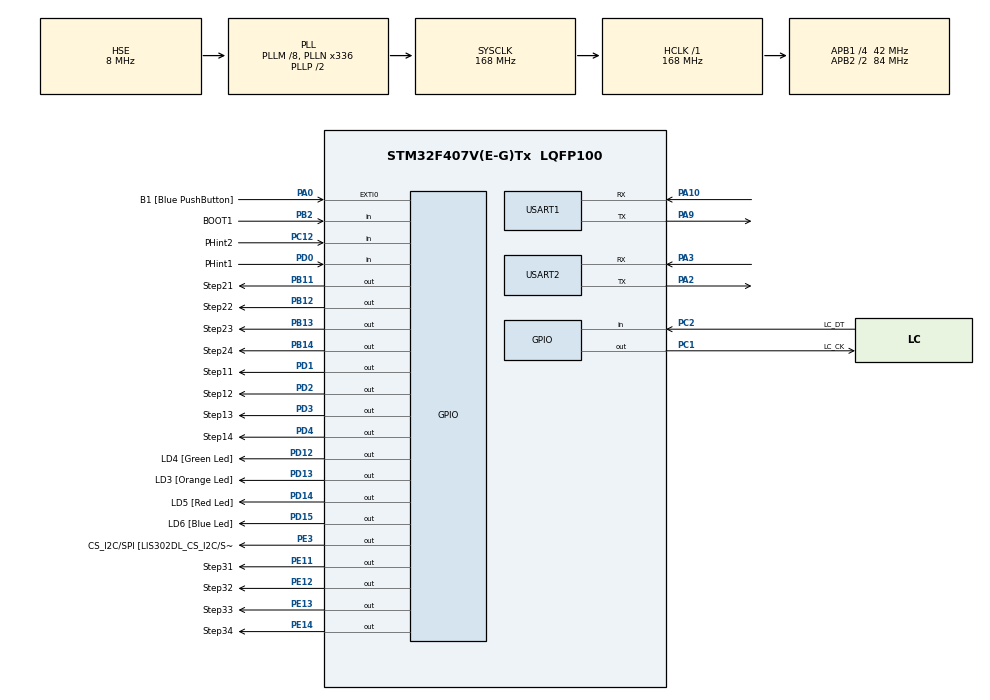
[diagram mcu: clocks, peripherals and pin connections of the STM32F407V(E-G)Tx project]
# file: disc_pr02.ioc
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Mcu.Family=STM32F4
Mcu.Name=STM32F407V(E-G)Tx
Mcu.Package=LQFP100
NVIC.PriorityGroup=NVIC_PRIORITYGROUP_0
NVIC.USART2_IRQn=true\:0\:0\:false\:false\:true\:true\:true
PA0-WKUP.GPIO_Label=B1 [Blue PushButton]
PA0-WKUP.GPIO_ModeDefaultEXTI=GPIO_MODE_EVT_RISING
PA0-WKUP.GPIO_PuPd=GPIO_NOPULL
PA0-WKUP.Signal=GPXTI0
PA10.Mode=Asynchronous
PA10.Signal=USART1_RX
PA13.GPIO_Label=SWDIO
PA13.Mode=Serial_Wire
PA13.Signal=SYS_JTMS-SWDIO
PA14.GPIO_Label=SWCLK
PA14.Mode=Serial_Wire
PA14.Signal=SYS_JTCK-SWCLK
PA2.Mode=Asynchronous
PA2.Signal=USART2_TX
PA3.Mode=Asynchronous
PA3.Signal=USART2_RX
PA9.Mode=Asynchronous
PA9.Signal=USART1_TX
PB11.GPIO_Label=Step21
PB11.GPIO_Speed=GPIO_SPEED_FREQ_MEDIUM
PB11.Signal=GPIO_Output
PB12.GPIO_Label=Step22
PB12.GPIO_Speed=GPIO_SPEED_FREQ_MEDIUM
PB12.Signal=GPIO_Output
PB13.GPIO_Label=Step23
PB13.GPIO_Speed=GPIO_SPEED_FREQ_MEDIUM
PB13.Signal=GPIO_Output
PB14.GPIO_Label=Step24
PB14.GPIO_Speed=GPIO_SPEED_FREQ_MEDIUM
PB14.Signal=GPIO_Output
PB2.GPIO_Label=BOOT1
PB2.GPIO_Mode=GPIO_MODE_INPUT
PB2.GPIO_PuPd=GPIO_NOPULL
PB2.Signal=GPIO_Input
PB3.GPIO_Label=SWO
PB3.Signal=SYS_JTDO-SWO
PC1.GPIO_Label=LC_CK
PC1.Signal=GPIO_Output
PC12.GPIO_Label=PHint2
PC12.Signal=GPIO_Input
PC14-OSC32_IN.GPIO_Label=PC14-OSC32_IN
PC14-OSC32_IN.Mode=LSE-External-Oscillator
PC14-OSC32_IN.Signal=RCC_OSC32_IN
PC15-OSC32_OUT.GPIO_Label=PC15-OSC32_OUT
PC15-OSC32_OUT.Mode=LSE-External-Oscillator
PC15-OSC32_OUT.Signal=RCC_OSC32_OUT
PC2.GPIO_Label=LC_DT
PC2.GPIO_PuPd=GPIO_PULLUP
PC2.Signal=GPIO_Input
PD0.GPIO_Label=PHint1
PD0.Signal=GPIO_Input
PD1.GPIO_Label=Step11
PD1.GPIO_Speed=GPIO_SPEED_FREQ_MEDIUM
PD1.Signal=GPIO_Output
PD12.GPIO_Label=LD4 [Green Led]
PD12.GPIO_PuPd=GPIO_NOPULL
PD12.GPIO_Speed=GPIO_SPEED_FREQ_LOW
PD12.Signal=GPIO_Output
PD13.GPIO_Label=LD3 [Orange Led]
PD13.GPIO_PuPd=GPIO_NOPULL
PD13.GPIO_Speed=GPIO_SPEED_FREQ_LOW
PD13.Signal=GPIO_Output
PD14.GPIO_Label=LD5 [Red Led]
PD14.GPIO_PuPd=GPIO_NOPULL
PD14.GPIO_Speed=GPIO_SPEED_FREQ_LOW
PD14.Signal=GPIO_Output
PD15.GPIO_Label=LD6 [Blue Led]
PD15.GPIO_PuPd=GPIO_NOPULL
PD15.GPIO_Speed=GPIO_SPEED_FREQ_LOW
PD15.Signal=GPIO_Output
PD2.GPIO_Label=Step12
PD2.GPIO_Speed=GPIO_SPEED_FREQ_MEDIUM
PD2.Signal=GPIO_Output
PD3.GPIO_Label=Step13
PD3.GPIO_Speed=GPIO_SPEED_FREQ_MEDIUM
PD3.Signal=GPIO_Output
PD4.GPIO_Label=Step14
PD4.GPIO_Speed=GPIO_SPEED_FREQ_MEDIUM
PD4.Signal=GPIO_Output
PE11.GPIO_Label=Step31
PE11.GPIO_Speed=GPIO_SPEED_FREQ_MEDIUM
PE11.Signal=GPIO_Output
PE12.GPIO_Label=Step32
PE12.GPIO_Speed=GPIO_SPEED_FREQ_MEDIUM
PE12.Signal=GPIO_Output
PE13.GPIO_Label=Step33
PE13.GPIO_Speed=GPIO_SPEED_FREQ_MEDIUM
PE13.Signal=GPIO_Output
PE14.GPIO_Label=Step34
PE14.GPIO_Speed=GPIO_SPEED_FREQ_MEDIUM
PE14.Signal=GPIO_Output
PE3.GPIO_Label=CS_I2C/SPI [LIS302DL_CS_I2C/SPI]
PE3.GPIO_PuPd=GPIO_NOPULL
PE3.GPIO_Speed=GPIO_SPEED_FREQ_LOW
PE3.Signal=GPIO_Output
PH0-OSC_IN.GPIO_Label=PH0-OSC_IN
PH0-OSC_IN.Mode=HSE-External-Oscillator
PH0-OSC_IN.Signal=RCC_OSC_IN
PH1-OSC_OUT.GPIO_Label=PH1-OSC_OUT
PH1-OSC_OUT.Mode=HSE-External-Oscillator
PH1-OSC_OUT.Signal=RCC_OSC_OUT
ProjectManager.HeapSize=0x200
ProjectManager.StackSize=0x400
ProjectManager.TargetToolchain=STM32CubeIDE
RCC.48MHZClocksFreq_Value=48000000
RCC.AHBFreq_Value=168000000
RCC.APB1CLKDivider=RCC_HCLK_DIV4
RCC.APB1Freq_Value=42000000
RCC.APB1TimFreq_Value=84000000
RCC.APB2CLKDivider=RCC_HCLK_DIV2
RCC.APB2Freq_Value=84000000
RCC.APB2TimFreq_Value=168000000
RCC.CortexFreq_Value=168000000
RCC.HCLKFreq_Value=168000000
RCC.HSE_VALUE=8000000
RCC.HSI_VALUE=16000000
RCC.PLLM=8
RCC.PLLN=336
RCC.PLLQ=7
RCC.PLLSourceVirtual=RCC_PLLSOURCE_HSE
RCC.SYSCLKFreq_VALUE=168000000
RCC.SYSCLKSource=RCC_SYSCLKSOURCE_PLLCLK
RCC.VCOOutputFreq_Value=336000000
USART1.VirtualMode=VM_ASYNC
USART2.VirtualMode=VM_ASYNC
board=STM32F4DISCOVERY

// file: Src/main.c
/* USER CODE BEGIN Header */
/**
  ******************************************************************************
  * @file           : main.c
  * @brief          : Main program body
  ******************************************************************************
  * @attention
  *
  * <h2><center>&copy; Copyright (c) 2019 STMicroelectronics.
  * All rights reserved.</center></h2>
  *
  * This software component is licensed by ST under Ultimate Liberty license
  * SLA0044, the "License"; You may not use this file except in compliance with
  * the License. You may obtain a copy of the License at:
  *                             www.st.com/SLA0044
  *
  ******************************************************************************
  */
/* USER CODE END Header */

#include "main.h"

/* USER CODE BEGIN Includes */
#include "funkcije.h"

/* USER CODE END Includes */

UART_HandleTypeDef huart1;
UART_HandleTypeDef huart2;

/* USER CODE BEGIN PV */
uint8_t tx_buffer[buffSize];
uint8_t rx_buffer[buffSize];
volatile uint8_t receivedSettings=0;	//0-nije primljeno, 1-stop, 2-sort, 3-analitica, 4-nepoznato

uint8_t tx_bufferPI[1];
uint8_t rx_bufferPI[3];

HX711 LC_struct;
filter filteriP[brCasa];
objektInfo objekti[2];
uint8_t trenutnaCasa;
uint8_t ukupniElementi=0;

/* USER CODE END PV */

void SystemClock_Config(void);
static void MX_GPIO_Init(void);
static void MX_USART2_UART_Init(void);
static void MX_USART1_UART_Init(void);

int main(void)
{

  /* MCU Configuration--------------------------------------------------------*/

  /* Reset of all peripherals, Initializes the Flash interface and the Systick. */
  HAL_Init();

  /* USER CODE BEGIN Init */
  HX711_Init();

  /* USER CODE END Init */

  /* Configure the system clock */
  SystemClock_Config();

  /* Initialize all configured peripherals */
  MX_GPIO_Init();
  MX_USART2_UART_Init();
  MX_USART1_UART_Init();
  /* USER CODE BEGIN 2 */

  __HAL_UART_ENABLE_IT(&huart2, UART_IT_TC);
  __HAL_UART_ENABLE_IT(&huart2, UART_IT_RXNE);

  initSvega();
  HAL_Delay(500);
  HX711_Tare(10);

  /* USER CODE END 2 */
  /* Infinite loop */
  /* USER CODE BEGIN WHILE */
  while (1)
  {
	  if(receivedSettings == 0) //nije primljeno
	  {

	  }
	  else if(receivedSettings == 1)	//stopiranje
	  {
		  receivedSettings = 0;
		  stopiranje(); //okretanje steppera i sl
	  }
	  else if(receivedSettings == 2)	//sortiranje
	  {
		  sortiranje();
	  }
	  else if(receivedSettings == 3)	//analitika
	  {
		  analiziranje();
	  }
	  else if(receivedSettings == 4)	//primljeno nesto novo
	  {
		  filterParseIzBuffer();
	  }

    /* USER CODE END WHILE */

  }
}

void SystemClock_Config(void)
{
  RCC_OscInitTypeDef RCC_OscInitStruct = {0};
  RCC_ClkInitTypeDef RCC_ClkInitStruct = {0};

  /** Configure the main internal regulator output voltage
  */
  __HAL_RCC_PWR_CLK_ENABLE();
  __HAL_PWR_VOLTAGESCALING_CONFIG(PWR_REGULATOR_VOLTAGE_SCALE1);
  /** Initializes the CPU, AHB and APB busses clocks
  */
  RCC_OscInitStruct.OscillatorType = RCC_OSCILLATORTYPE_HSE;
  RCC_OscInitStruct.HSEState = RCC_HSE_ON;
  RCC_OscInitStruct.PLL.PLLState = RCC_PLL_ON;
  RCC_OscInitStruct.PLL.PLLSource = RCC_PLLSOURCE_HSE;
  RCC_OscInitStruct.PLL.PLLM = 8;
  RCC_OscInitStruct.PLL.PLLN = 336;
  RCC_OscInitStruct.PLL.PLLP = RCC_PLLP_DIV2;
  RCC_OscInitStruct.PLL.PLLQ = 7;
  if (HAL_RCC_OscConfig(&RCC_OscInitStruct) != HAL_OK)
  {
    Error_Handler();
  }
  /** Initializes the CPU, AHB and APB busses clocks
  */
  RCC_ClkInitStruct.ClockType = RCC_CLOCKTYPE_HCLK|RCC_CLOCKTYPE_SYSCLK
                              |RCC_CLOCKTYPE_PCLK1|RCC_CLOCKTYPE_PCLK2;
  RCC_ClkInitStruct.SYSCLKSource = RCC_SYSCLKSOURCE_PLLCLK;
  RCC_ClkInitStruct.AHBCLKDivider = RCC_SYSCLK_DIV1;
  RCC_ClkInitStruct.APB1CLKDivider = RCC_HCLK_DIV4;
  RCC_ClkInitStruct.APB2CLKDivider = RCC_HCLK_DIV2;

  if (HAL_RCC_ClockConfig(&RCC_ClkInitStruct, FLASH_LATENCY_5) != HAL_OK)
  {
    Error_Handler();
  }
}

static void MX_USART1_UART_Init(void)
{

  huart1.Instance = USART1;
  huart1.Init.BaudRate = 115200;
  huart1.Init.WordLength = UART_WORDLENGTH_8B;
  huart1.Init.StopBits = UART_STOPBITS_1;
  huart1.Init.Parity = UART_PARITY_NONE;
  huart1.Init.Mode = UART_MODE_TX_RX;
  huart1.Init.HwFlowCtl = UART_HWCONTROL_NONE;
  huart1.Init.OverSampling = UART_OVERSAMPLING_16;
  if (HAL_UART_Init(&huart1) != HAL_OK)
  {
    Error_Handler();
  }

}

static void MX_USART2_UART_Init(void)
{

  huart2.Instance = USART2;
  huart2.Init.BaudRate = 115200;
  huart2.Init.WordLength = UART_WORDLENGTH_8B;
  huart2.Init.StopBits = UART_STOPBITS_1;
  huart2.Init.Parity = UART_PARITY_NONE;
  huart2.Init.Mode = UART_MODE_TX_RX;
  huart2.Init.HwFlowCtl = UART_HWCONTROL_NONE;
  huart2.Init.OverSampling = UART_OVERSAMPLING_16;
  if (HAL_UART_Init(&huart2) != HAL_OK)
  {
    Error_Handler();
  }

}

static void MX_GPIO_Init(void)
{
  GPIO_InitTypeDef GPIO_InitStruct = {0};

  /* GPIO Ports Clock Enable */
  __HAL_RCC_GPIOE_CLK_ENABLE();
  __HAL_RCC_GPIOC_CLK_ENABLE();
  __HAL_RCC_GPIOH_CLK_ENABLE();
  __HAL_RCC_GPIOA_CLK_ENABLE();
  __HAL_RCC_GPIOB_CLK_ENABLE();
  __HAL_RCC_GPIOD_CLK_ENABLE();

  /*Configure GPIO pin Output Level */
  HAL_GPIO_WritePin(GPIOE, CS_I2C_SPI_Pin|Step31_Pin|Step32_Pin|Step33_Pin
                          |Step34_Pin, GPIO_PIN_RESET);

  /*Configure GPIO pin Output Level */
  HAL_GPIO_WritePin(LC_CK_GPIO_Port, LC_CK_Pin, GPIO_PIN_RESET);

  /*Configure GPIO pin Output Level */
  HAL_GPIO_WritePin(GPIOB, Step21_Pin|Step22_Pin|Step23_Pin|Step24_Pin, GPIO_PIN_RESET);

  /*Configure GPIO pin Output Level */
  HAL_GPIO_WritePin(GPIOD, LD4_Pin|LD3_Pin|LD5_Pin|LD6_Pin
                          |Step11_Pin|Step12_Pin|Step13_Pin|Step14_Pin, GPIO_PIN_RESET);

  /*Configure GPIO pin : CS_I2C_SPI_Pin */
  GPIO_InitStruct.Pin = CS_I2C_SPI_Pin;
  GPIO_InitStruct.Mode = GPIO_MODE_OUTPUT_PP;
  GPIO_InitStruct.Pull = GPIO_NOPULL;
  GPIO_InitStruct.Speed = GPIO_SPEED_FREQ_LOW;
  HAL_GPIO_Init(CS_I2C_SPI_GPIO_Port, &GPIO_InitStruct);

  /*Configure GPIO pin : LC_CK_Pin */
  GPIO_InitStruct.Pin = LC_CK_Pin;
  GPIO_InitStruct.Mode = GPIO_MODE_OUTPUT_PP;
  GPIO_InitStruct.Pull = GPIO_NOPULL;
  GPIO_InitStruct.Speed = GPIO_SPEED_FREQ_LOW;
  HAL_GPIO_Init(LC_CK_GPIO_Port, &GPIO_InitStruct);

  /*Configure GPIO pin : LC_DT_Pin */
  GPIO_InitStruct.Pin = LC_DT_Pin;
  GPIO_InitStruct.Mode = GPIO_MODE_INPUT;
  GPIO_InitStruct.Pull = GPIO_PULLUP;
  HAL_GPIO_Init(LC_DT_GPIO_Port, &GPIO_InitStruct);

  /*Configure GPIO pin : B1_Pin */
  GPIO_InitStruct.Pin = B1_Pin;
  GPIO_InitStruct.Mode = GPIO_MODE_EVT_RISING;
  GPIO_InitStruct.Pull = GPIO_NOPULL;
  HAL_GPIO_Init(B1_GPIO_Port, &GPIO_InitStruct);

  /*Configure GPIO pin : BOOT1_Pin */
  GPIO_InitStruct.Pin = BOOT1_Pin;
  GPIO_InitStruct.Mode = GPIO_MODE_INPUT;
  GPIO_InitStruct.Pull = GPIO_NOPULL;
  HAL_GPIO_Init(BOOT1_GPIO_Port, &GPIO_InitStruct);

  /*Configure GPIO pins : Step31_Pin Step32_Pin Step33_Pin Step34_Pin */
  GPIO_InitStruct.Pin = Step31_Pin|Step32_Pin|Step33_Pin|Step34_Pin;
  GPIO_InitStruct.Mode = GPIO_MODE_OUTPUT_PP;
  GPIO_InitStruct.Pull = GPIO_NOPULL;
  GPIO_InitStruct.Speed = GPIO_SPEED_FREQ_MEDIUM;
  HAL_GPIO_Init(GPIOE, &GPIO_InitStruct);

  /*Configure GPIO pins : Step21_Pin Step22_Pin Step23_Pin Step24_Pin */
  GPIO_InitStruct.Pin = Step21_Pin|Step22_Pin|Step23_Pin|Step24_Pin;
  GPIO_InitStruct.Mode = GPIO_MODE_OUTPUT_PP;
  GPIO_InitStruct.Pull = GPIO_NOPULL;
  GPIO_InitStruct.Speed = GPIO_SPEED_FREQ_MEDIUM;
  HAL_GPIO_Init(GPIOB, &GPIO_InitStruct);

  /*Configure GPIO pins : LD4_Pin LD3_Pin LD5_Pin LD6_Pin */
  GPIO_InitStruct.Pin = LD4_Pin|LD3_Pin|LD5_Pin|LD6_Pin;
  GPIO_InitStruct.Mode = GPIO_MODE_OUTPUT_PP;
  GPIO_InitStruct.Pull = GPIO_NOPULL;
  GPIO_InitStruct.Speed = GPIO_SPEED_FREQ_LOW;
  HAL_GPIO_Init(GPIOD, &GPIO_InitStruct);

  /*Configure GPIO pin : PHint2_Pin */
  GPIO_InitStruct.Pin = PHint2_Pin;
  GPIO_InitStruct.Mode = GPIO_MODE_INPUT;
  GPIO_InitStruct.Pull = GPIO_NOPULL;
  HAL_GPIO_Init(PHint2_GPIO_Port, &GPIO_InitStruct);

  /*Configure GPIO pin : PHint1_Pin */
  GPIO_InitStruct.Pin = PHint1_Pin;
  GPIO_InitStruct.Mode = GPIO_MODE_INPUT;
  GPIO_InitStruct.Pull = GPIO_NOPULL;
  HAL_GPIO_Init(PHint1_GPIO_Port, &GPIO_InitStruct);

  /*Configure GPIO pins : Step11_Pin Step12_Pin Step13_Pin Step14_Pin */
  GPIO_InitStruct.Pin = Step11_Pin|Step12_Pin|Step13_Pin|Step14_Pin;
  GPIO_InitStruct.Mode = GPIO_MODE_OUTPUT_PP;
  GPIO_InitStruct.Pull = GPIO_NOPULL;
  GPIO_InitStruct.Speed = GPIO_SPEED_FREQ_MEDIUM;
  HAL_GPIO_Init(GPIOD, &GPIO_InitStruct);

}

void Error_Handler(void)
{
}

/************************ (C) COPYRIGHT STMicroelectronics *****END OF FILE****/
